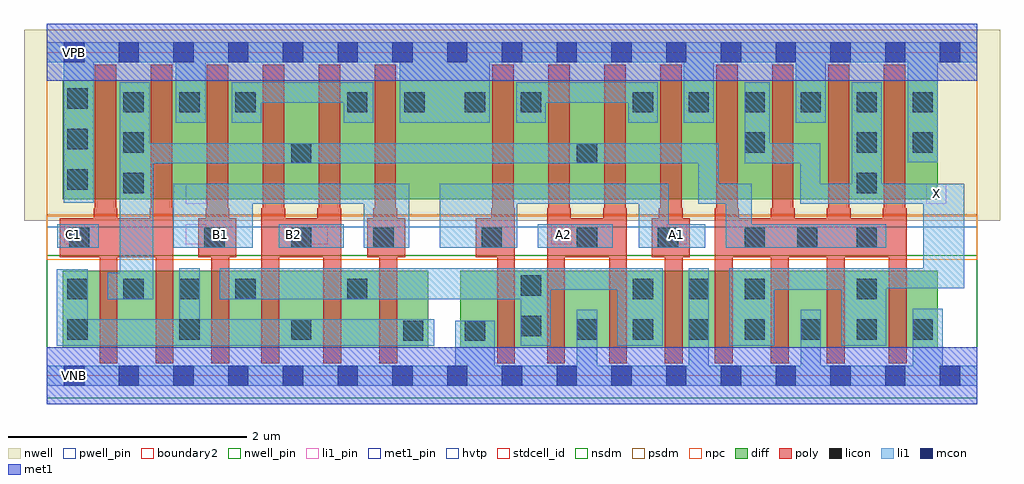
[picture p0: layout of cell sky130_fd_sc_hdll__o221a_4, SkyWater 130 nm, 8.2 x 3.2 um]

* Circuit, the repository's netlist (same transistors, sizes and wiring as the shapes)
* Copyright 2020 The SkyWater PDK Authors
*
* Licensed under the Apache License, Version 2.0 (the "License");
* you may not use this file except in compliance with the License.
* You may obtain a copy of the License at
*
*     https://www.apache.org/licenses/LICENSE-2.0
*
* Unless required by applicable law or agreed to in writing, software
* distributed under the License is distributed on an "AS IS" BASIS,
* WITHOUT WARRANTIES OR CONDITIONS OF ANY KIND, either express or implied.
* See the License for the specific language governing permissions and
* limitations under the License.
*
* SPDX-License-Identifier: Apache-2.0

.SUBCKT sky130_fd_sc_hdll__o221a_4 A1 A2 B1 B2 C1 VGND VNB VPB VPWR X
*.PININFO A1:I A2:I B1:I B2:I C1:I VGND:I VNB:I VPB:I VPWR:I X:O
MMPA0 VPWR A1 sndA1 VPB sky130_fd_pr__pfet_01v8_hvt m=2 w=1.0U l=0.18U mult=1 sa=0.265
+ sb=0.265 sd=0.28 area=0.063 perim=1.14
MMPA1 sndA1 A2 y VPB sky130_fd_pr__pfet_01v8_hvt m=2 w=1.0U l=0.18U mult=1 sa=0.265
+ sb=0.265 sd=0.28 area=0.063 perim=1.14
MMPB0 VPWR B1 sndB1 VPB sky130_fd_pr__pfet_01v8_hvt m=2 w=1.0U l=0.18U mult=1 sa=0.265
+ sb=0.265 sd=0.28 area=0.063 perim=1.14
MMPB1 sndB1 B2 y VPB sky130_fd_pr__pfet_01v8_hvt m=2 w=1.0U l=0.18U mult=1 sa=0.265
+ sb=0.265 sd=0.28 area=0.063 perim=1.14
MMPC0 VPWR C1 y VPB sky130_fd_pr__pfet_01v8_hvt m=2 w=1.0U l=0.18U mult=1 sa=0.265
+ sb=0.265 sd=0.28 area=0.063 perim=1.14
MMIPX X y VPWR VPB sky130_fd_pr__pfet_01v8_hvt m=4 w=1.0U l=0.18U mult=1 sa=0.265
+ sb=0.265 sd=0.28 area=0.063 perim=1.14
MMNA0 pndA A1 VGND VNB sky130_fd_pr__nfet_01v8 m=2 w=0.65U l=0.15U mult=1 sa=0.265
+ sb=0.265 sd=0.28 area=0.063 perim=1.14
MMNA1 pndA A2 VGND VNB sky130_fd_pr__nfet_01v8 m=2 w=0.65U l=0.15U mult=1 sa=0.265
+ sb=0.265 sd=0.28 area=0.063 perim=1.14
MMNB0 pndB B1 pndA VNB sky130_fd_pr__nfet_01v8 m=2 w=0.65U l=0.15U mult=1 sa=0.265
+ sb=0.265 sd=0.28 area=0.063 perim=1.14
MMNB1 pndB B2 pndA VNB sky130_fd_pr__nfet_01v8 m=2 w=0.65U l=0.15U mult=1 sa=0.265
+ sb=0.265 sd=0.28 area=0.063 perim=1.14
MMNC0 y C1 pndB VNB sky130_fd_pr__nfet_01v8 m=2 w=0.65U l=0.15U mult=1 sa=0.265
+ sb=0.265 sd=0.28 area=0.063 perim=1.14
MMINX X y VGND VNB sky130_fd_pr__nfet_01v8 m=4 w=0.65U l=0.15U mult=1 sa=0.265
+ sb=0.265 sd=0.28 area=0.063 perim=1.14
.ENDS sky130_fd_sc_hdll__o221a_4

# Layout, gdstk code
import gdstk
lib = gdstk.Library(unit=1e-6, precision=1e-09)
def R(c, l, rs):  # rectangles x0, y0, x1, y1
    for r in rs: c.add(gdstk.rectangle(r[:2], r[2:], *l))
def A(c, l, x, y, w, h, nx, ny, dx, dy):  # array of equal rectangles
    R(c, l, [(x+i*dx, y+j*dy, x+i*dx+w, y+j*dy+h) for i in range(nx) for j in range(ny)])
def P(c, l, *ps):  # polygons
    for p in ps: c.add(gdstk.Polygon(p, *l))
nwell_pin = (64, 16)
nwell = (64, 20)
diff = (65, 20)
poly = (66, 20)
licon = (66, 44)
li1_pin = (67, 16)
li1 = (67, 20)
mcon = (67, 44)
met1_pin = (68, 16)
met1 = (68, 20)
hvtp = (78, 44)
stdcell_id = (81, 4)
nsdm = (93, 44)
psdm = (94, 20)
npc = (95, 20)
pwell_pin = (122, 16)
boundary2 = (236, 0)

sky130_fd_sc_hdll__o221a = lib.new_cell('sky130_fd_sc_hdll__o221a_4')
R(sky130_fd_sc_hdll__o221a, nwell_pin, [(0.15,2.635,0.32,2.805)])
R(sky130_fd_sc_hdll__o221a, nwell, [(-0.19,1.305,8.01,2.91)])
R(sky130_fd_sc_hdll__o221a, diff, [(0.135,0.235,3.205,0.885), (3.475,0.235,7.485,0.885), (0.135,1.485,7.485,2.485)])
P(sky130_fd_sc_hdll__o221a, poly, [(1.065,1.41),(1.055,1.41),(1.055,2.615),(0.875,2.615),(0.875,1.41),(0.865,1.41),(0.865,1.325),(0.595,1.325),(0.595,1.41),(0.585,1.41),(0.585,2.615),(0.405,2.615),(0.405,1.41),(0.395,1.41),(0.395,1.325),(0.11,1.325),(0.11,0.995),(0.445,0.995),(0.445,0.105),(0.595,0.105),(0.595,0.995),(0.915,0.995),(0.915,0.105),(1.065,0.105)],
  [(1.595,1.325),(1.535,1.325),(1.535,1.41),(1.525,1.41),(1.525,2.615),(1.345,2.615),(1.345,1.41),(1.335,1.41),(1.335,1.325),(1.275,1.325),(1.275,0.995),(1.385,0.995),(1.385,0.105),(1.535,0.105),(1.535,0.995),(1.595,0.995)],
  [(2.475,1.41),(2.465,1.41),(2.465,2.615),(2.285,2.615),(2.285,1.41),(2.275,1.41),(2.275,1.325),(2.005,1.325),(2.005,1.41),(1.995,1.41),(1.995,2.615),(1.815,2.615),(1.815,1.41),(1.805,1.41),(1.805,0.105),(1.955,0.105),(1.955,0.995),(2.325,0.995),(2.325,0.105),(2.475,0.105)],
  [(3.015,1.325),(2.945,1.325),(2.945,1.41),(2.935,1.41),(2.935,2.615),(2.755,2.615),(2.755,1.41),(2.745,1.41),(2.745,1.325),(2.695,1.325),(2.695,0.995),(2.795,0.995),(2.795,0.105),(2.945,0.105),(2.945,0.995),(3.015,0.995)],
  [(3.935,1.41),(3.925,1.41),(3.925,2.615),(3.745,2.615),(3.745,1.41),(3.735,1.41),(3.735,1.325),(3.605,1.325),(3.605,0.995),(3.785,0.995),(3.785,0.105),(3.935,0.105)],
  [(4.875,1.41),(4.865,1.41),(4.865,2.615),(4.685,2.615),(4.685,1.41),(4.675,1.41),(4.675,1.325),(4.405,1.325),(4.405,1.41),(4.395,1.41),(4.395,2.615),(4.215,2.615),(4.215,1.41),(4.205,1.41),(4.205,0.105),(4.355,0.105),(4.355,0.995),(4.725,0.995),(4.725,0.105),(4.875,0.105)],
  [(5.405,1.325),(5.345,1.325),(5.345,1.41),(5.335,1.41),(5.335,2.615),(5.155,2.615),(5.155,1.41),(5.145,1.41),(5.145,1.325),(5.085,1.325),(5.085,0.995),(5.195,0.995),(5.195,0.105),(5.345,0.105),(5.345,0.995),(5.405,0.995)],
  [(7.225,1.41),(7.215,1.41),(7.215,2.615),(7.035,2.615),(7.035,1.41),(7.025,1.41),(7.025,1.325),(6.755,1.325),(6.755,1.41),(6.745,1.41),(6.745,2.615),(6.565,2.615),(6.565,1.41),(6.555,1.41),(6.555,1.325),(6.285,1.325),(6.285,1.41),(6.275,1.41),(6.275,2.615),(6.095,2.615),(6.095,1.41),(6.085,1.41),(6.085,1.325),(5.815,1.325),(5.815,1.41),(5.805,1.41),(5.805,2.615),(5.625,2.615),(5.625,1.41),(5.615,1.41),(5.615,0.105),(5.765,0.105),(5.765,0.995),(6.085,0.995),(6.085,0.105),(6.235,0.105),(6.235,0.995),(6.555,0.995),(6.555,0.105),(6.705,0.105),(6.705,0.995),(7.075,0.995),(7.075,0.105),(7.225,0.105)])
A(sky130_fd_sc_hdll__o221a, licon, 0.175, 0.305, 0.17, 0.17, 3, 1, 0.94, 0)
A(sky130_fd_sc_hdll__o221a, licon, 4.455, 0.305, 0.17, 0.17, 7, 1, 0.47, 0)
A(sky130_fd_sc_hdll__o221a, licon, 0.175, 0.645, 0.17, 0.17, 4, 1, 0.47, 0)
A(sky130_fd_sc_hdll__o221a, licon, 4.925, 0.645, 0.17, 0.17, 3, 1, 0.47, 0)
A(sky130_fd_sc_hdll__o221a, licon, 0.175, 1.565, 0.17, 0.17, 1, 3, 0, 0.34)
A(sky130_fd_sc_hdll__o221a, licon, 0.645, 2.215, 0.17, 0.17, 3, 1, 0.47, 0)
A(sky130_fd_sc_hdll__o221a, licon, 4.925, 2.215, 0.17, 0.17, 6, 1, 0.47, 0)
R(sky130_fd_sc_hdll__o221a, licon, [(2.995,0.295,3.165,0.465), (3.515,0.295,3.685,0.465), (3.985,0.335,4.155,0.505), (2.525,0.645,2.695,0.815), (6.805,0.645,6.975,0.815), (3.985,0.675,4.155,0.845), (0.19,1.075,0.36,1.245), (1.325,1.075,1.495,1.245), (2.055,1.075,2.225,1.245), (2.745,1.075,2.915,1.245), (3.655,1.075,3.825,1.245), (4.455,1.075,4.625,1.245), (5.135,1.075,5.305,1.245), (5.865,1.075,6.035,1.245), (6.305,1.075,6.475,1.245), (6.805,1.075,6.975,1.245), (0.645,1.535,0.815,1.705), (6.805,1.535,6.975,1.705), (2.055,1.785,2.225,1.955), (4.455,1.785,4.625,1.955), (0.645,1.875,0.815,2.045), (5.865,1.875,6.035,2.045), (6.805,1.875,6.975,2.045), (7.275,1.875,7.445,2.045), (2.525,2.215,2.695,2.385), (3.005,2.215,3.175,2.385), (3.515,2.215,3.685,2.385), (3.985,2.215,4.155,2.385)])
A(sky130_fd_sc_hdll__o221a, li1_pin, 0.15, 1.105, 0.17, 0.17, 3, 1, 1.02, 0)
R(sky130_fd_sc_hdll__o221a, li1_pin, [(4.24,1.105,4.41,1.275), (5.21,1.105,5.38,1.275), (1.17,1.445,1.34,1.615), (7.39,1.445,7.56,1.615)])
R(sky130_fd_sc_hdll__o221a, li1, [(0.09,1.075,0.44,1.275), (1.95,1.075,2.495,1.275), (4.125,1.075,4.755,1.275)])
P(sky130_fd_sc_hdll__o221a, li1, [(3.045,1.615),(1.065,1.615),(1.065,1.075),(1.73,1.075),(1.73,1.445),(2.665,1.445),(2.665,1.075),(3.045,1.075)],
  [(3.255,0.475),(1.285,0.475),(1.285,0.905),(1.115,0.905),(1.115,0.475),(0.345,0.475),(0.345,0.895),(0.085,0.895),(0.085,0.255),(3.255,0.255)],
  [(5.135,2.465),(3.945,2.465),(3.945,2.125),(4.195,2.125),(4.195,2.295),(4.885,2.295),(4.885,2.125),(5.135,2.125)],
  [(5.175,0.905),(1.455,0.905),(1.455,0.645),(3.985,0.645),(3.985,0.255),(4.235,0.255),(4.235,0.725),(4.795,0.725),(4.795,0.255),(5.175,0.255)],
  [(5.535,1.275),(5.225,1.275),(5.225,1.615),(3.305,1.615),(3.305,1.075),(3.955,1.075),(3.955,1.445),(4.975,1.445),(4.975,1.075),(5.535,1.075)],
  [(7.055,1.275),(5.925,1.275),(5.925,1.615),(5.645,1.615),(5.645,1.955),(0.865,1.955),(0.865,2.465),(0.615,2.465),(0.615,0.865),(0.515,0.865),(0.515,0.645),(0.895,0.645),(0.895,1.785),(5.475,1.785),(5.475,1.445),(5.705,1.445),(5.705,1.075),(7.055,1.075)],
  [(2.745,2.465),(1.555,2.465),(1.555,2.125),(1.805,2.125),(1.805,2.295),(2.495,2.295),(2.495,2.125),(2.745,2.125)],
  [(7.71,1.615),(7.015,1.615),(7.015,2.465),(6.765,2.465),(6.765,1.615),(6.5,1.615),(6.5,1.955),(6.075,1.955),(6.075,2.465),(5.865,2.465),(5.865,1.785),(6.33,1.785),(6.33,1.445),(7.365,1.445),(7.365,0.905),(5.735,0.905),(5.735,0.255),(6.115,0.255),(6.115,0.725),(6.675,0.725),(6.675,0.255),(7.055,0.255),(7.055,0.735),(7.71,0.735)],
  [(7.82,2.805),(0,2.805),(0,2.635),(0.145,2.635),(0.145,1.455),(0.395,1.455),(0.395,2.635),(1.085,2.635),(1.085,2.125),(1.335,2.125),(1.335,2.635),(2.965,2.635),(2.965,2.125),(3.725,2.125),(3.725,2.635),(5.355,2.635),(5.355,2.125),(5.605,2.125),(5.605,2.635),(6.295,2.635),(6.295,2.125),(6.545,2.125),(6.545,2.635),(7.235,2.635),(7.235,1.795),(7.485,1.795),(7.485,2.635),(7.82,2.635)],
  [(7.82,0.085),(7.53,0.085),(7.53,0.565),(7.275,0.565),(7.275,0.085),(6.505,0.085),(6.505,0.555),(6.335,0.555),(6.335,0.085),(5.565,0.085),(5.565,0.905),(5.395,0.905),(5.395,0.085),(4.625,0.085),(4.625,0.555),(4.455,0.555),(4.455,0.085),(3.765,0.085),(3.765,0.465),(3.435,0.465),(3.435,0.085),(0,0.085),(0,-0.085),(7.82,-0.085)])
A(sky130_fd_sc_hdll__o221a, mcon, 0.145, -0.085, 0.17, 0.17, 17, 2, 0.46, 2.72)
R(sky130_fd_sc_hdll__o221a, met1_pin, [(0.15,-0.085,0.32,0.085), (0.15,2.635,0.32,2.805)])
R(sky130_fd_sc_hdll__o221a, met1, [(0,-0.24,7.82,0.24), (0,2.48,7.82,2.96)])
R(sky130_fd_sc_hdll__o221a, hvtp, [(0,1.25,7.82,2.72)])
R(sky130_fd_sc_hdll__o221a, stdcell_id, [(0,0,7.82,2.72)])
R(sky130_fd_sc_hdll__o221a, nsdm, [(0,-0.19,7.82,1.015)])
R(sky130_fd_sc_hdll__o221a, psdm, [(0,1.355,7.82,2.91)])
R(sky130_fd_sc_hdll__o221a, npc, [(0,0.975,7.82,1.345)])
R(sky130_fd_sc_hdll__o221a, pwell_pin, [(0.15,-0.085,0.32,0.085)])
R(sky130_fd_sc_hdll__o221a, boundary2, [(0,0,7.82,2.72)])
sky130_fd_sc_hdll__o221a.add(gdstk.Label('C1', (0.23,1.19), layer=67, texttype=5))
sky130_fd_sc_hdll__o221a.add(gdstk.Label('A1', (5.295,1.19), layer=67, texttype=5))
sky130_fd_sc_hdll__o221a.add(gdstk.Label('A2', (4.34,1.19), layer=67, texttype=5))
sky130_fd_sc_hdll__o221a.add(gdstk.Label('B1', (1.46,1.19), layer=67, texttype=5))
sky130_fd_sc_hdll__o221a.add(gdstk.Label('B2', (2.075,1.19), layer=67, texttype=5))
sky130_fd_sc_hdll__o221a.add(gdstk.Label('X', (7.475,1.53), layer=67, texttype=5))
sky130_fd_sc_hdll__o221a.add(gdstk.Label('VNB', (0.235,0), layer=64, texttype=59))
sky130_fd_sc_hdll__o221a.add(gdstk.Label('VPB', (0.235,2.72), layer=64, texttype=5))
sky130_fd_sc_hdll__o221a.add(gdstk.Label('VGND', (0.235,0), layer=68, texttype=5))
sky130_fd_sc_hdll__o221a.add(gdstk.Label('VPWR', (0.235,2.72), layer=68, texttype=5))
sky130_fd_sc_hdll__o221a.add(gdstk.Label('o221a_4', (0,0), layer=83, texttype=44))

lib.write_gds('sky130_fd_sc_hdll__o221a_4.gds')
